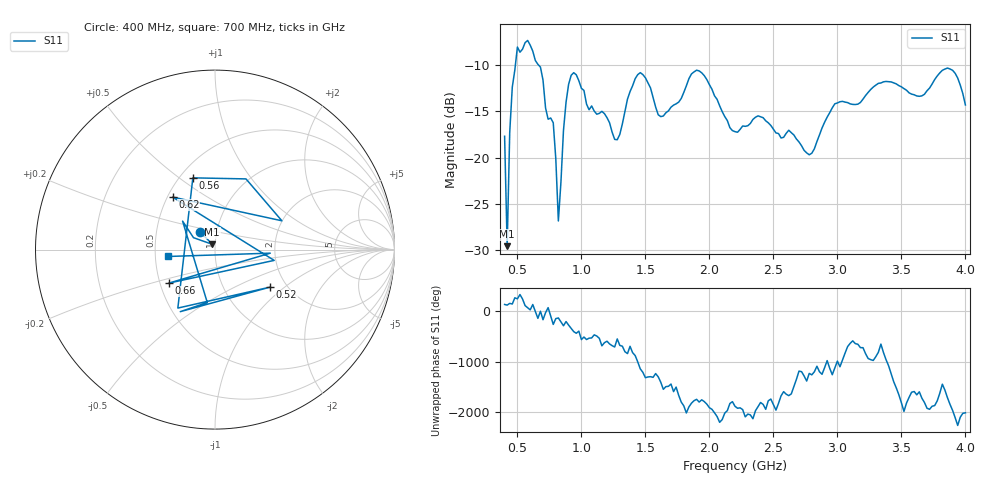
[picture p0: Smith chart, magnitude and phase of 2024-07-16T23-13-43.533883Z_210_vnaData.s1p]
!Created with skrf (http://scikit-rf.org).
# Hz S RI R 50.0
!freq ReS11 ImS11
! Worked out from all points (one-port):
!   181 points, 400 MHz to 4 GHz, reference 50 ohm
!   lowest |S11| = -29.6 dB at 420 MHz (marker M1), VSWR 1.07, Z = 48.4 + j2.86 ohm
!   |S11| at or under -10 dB: start of sweep to 484.2 MHz; 665.9 MHz to end of sweep
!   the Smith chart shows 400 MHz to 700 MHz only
!   S11 on the Smith chart (normalised r, x): 400 MHz: 0.83, +0.17; 520 MHz: 1.65, -0.80; 560 MHz: 0.58, +0.56; 620 MHz: 0.53, +0.36; 660 MHz: 0.55, -0.23; 700 MHz: 0.59, -0.05
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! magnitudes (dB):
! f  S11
! 400 MHz  -17.7
! 420 MHz  -29.6
! 440 MHz  -17.3
! 460 MHz  -12.4
! 520 MHz  -8.6
! 560 MHz  -7.6
! 620 MHz  -8.5
! 660 MHz  -9.9
! 700 MHz  -11.6
! 740 MHz  -15.9
! 780 MHz  -16.2
! 820 MHz  -26.9
! 860 MHz  -17.1
! 900 MHz  -12.1
! 940 MHz  -10.8
! 1.3 GHz  -17.5
! 1.46 GHz  -10.8
! 1.6 GHz  -15.4
! 1.76 GHz  -14.0
! 1.92 GHz  -10.6
! 2.2 GHz  -17.2
! 2.66 GHz  -17.6
! 2.78 GHz  -19.7
! 2.98 GHz  -14.2
! 3.1 GHz  -14.2
! 3.56 GHz  -13.0
! 3.86 GHz  -10.3
! 4 GHz  -14.3
